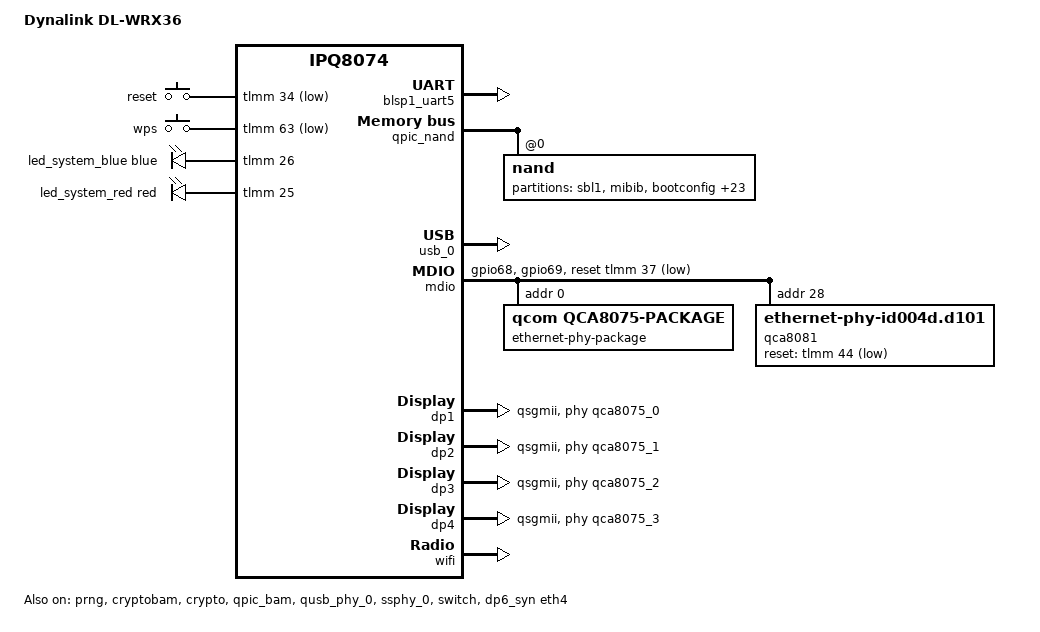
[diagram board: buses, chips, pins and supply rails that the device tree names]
// SPDX-License-Identifier: GPL-2.0-or-later OR MIT
/* Copyright (c) 2022, Robert Marko <robimarko@gmail.com> */

/dts-v1/;

#include "ipq8074.dtsi"
#include "ipq8074-hk-cpu.dtsi"
#include "ipq8074-ess.dtsi"
#include <dt-bindings/gpio/gpio.h>
#include <dt-bindings/input/input.h>
#include <dt-bindings/leds/common.h>

/ {
	model = "Dynalink DL-WRX36";
	compatible = "dynalink,dl-wrx36", "qcom,ipq8074";

	aliases {
		led-boot = &led_system_red;
		led-failsafe = &led_system_red;
		led-running = &led_system_blue;
		led-upgrade = &led_system_red;
		serial0 = &blsp1_uart5;
		/* Aliases as required by u-boot to patch MAC addresses */
		ethernet0 = &dp6_syn;
		ethernet1 = &dp4;
		ethernet2 = &dp3;
		ethernet3 = &dp2;
		ethernet4 = &dp1;
		label-mac-device = &dp6_syn;
	};

	chosen {
		stdout-path = "serial0:115200n8";
		bootargs-append = " root=/dev/ubiblock0_1";
	};

	keys {
		compatible = "gpio-keys";

		reset {
			label = "reset";
			gpios = <&tlmm 34 GPIO_ACTIVE_LOW>;
			linux,code = <KEY_RESTART>;
		};

		wps {
			label = "wps";
			gpios = <&tlmm 63 GPIO_ACTIVE_LOW>;
			linux,code = <KEY_WPS_BUTTON>;
		};
	};

	leds {
		compatible = "gpio-leds";

		led_system_blue: system-blue {
			gpios = <&tlmm 26 GPIO_ACTIVE_HIGH>;
			color = <LED_COLOR_ID_BLUE>;
		};

		led_system_red: system-red {
			gpios = <&tlmm 25 GPIO_ACTIVE_HIGH>;
			color = <LED_COLOR_ID_RED>;
		};
	};
};

&tlmm {
	mdio_pins: mdio-pins {
		mdc {
			pins = "gpio68";
			function = "mdc";
			drive-strength = <8>;
			bias-pull-up;
		};

		mdio {
			pins = "gpio69";
			function = "mdio";
			drive-strength = <8>;
			bias-pull-up;
		};
	};
};

&blsp1_uart5 {
	status = "okay";
};

&prng {
	status = "okay";
};

&cryptobam {
	status = "okay";
};

&crypto {
	status = "okay";
};

&qpic_bam {
	status = "okay";
};

&qpic_nand {
	status = "okay";

	nand@0 {
		reg = <0>;
		nand-ecc-strength = <8>;
		nand-ecc-step-size = <512>;
		nand-bus-width = <8>;

		partitions {
			compatible = "fixed-partitions";
			#address-cells = <1>;
			#size-cells = <1>;

			partition@0 {
				label = "sbl1";
				reg = <0x0 0x100000>;
				read-only;
			};

			partition@100000 {
				label = "mibib";
				reg = <0x100000 0x100000>;
				read-only;
			};

			partition@200000 {
				label = "bootconfig";
				reg = <0x200000 0x80000>;
				read-only;
			};

			partition@280000 {
				label = "bootconfig1";
				reg = <0x280000 0x80000>;
				read-only;
			};

			partition@300000 {
				label = "qsee";
				reg = <0x300000 0x300000>;
				read-only;
			};

			partition@600000 {
				label = "qsee_1";
				reg = <0x600000 0x300000>;
				read-only;
			};

			partition@900000 {
				label = "devcfg";
				reg = <0x900000 0x80000>;
				read-only;
			};

			partition@980000 {
				label = "devcfg_1";
				reg = <0x980000 0x80000>;
				read-only;
			};

			partition@a00000 {
				label = "apdp";
				reg = <0xa00000 0x80000>;
				read-only;
			};

			partition@a80000 {
				label = "apdp_1";
				reg = <0xa80000 0x80000>;
				read-only;
			};

			partition@b00000 {
				label = "rpm";
				reg = <0xb00000 0x80000>;
				read-only;
			};

			partition@b80000 {
				label = "rpm_1";
				reg = <0xb80000 0x80000>;
				read-only;
			};

			partition@c00000 {
				label = "cdt";
				reg = <0xc00000 0x80000>;
				read-only;
			};

			partition@c80000 {
				label = "cdt_1";
				reg = <0xc80000 0x80000>;
				read-only;
			};

			partition@d00000 {
				label = "appsblenv";
				reg = <0xd00000 0x80000>;
			};

			partition@d80000 {
				label = "appsbl";
				reg = <0xd80000 0x100000>;
				read-only;
			};

			partition@e80000 {
				label = "appsbl_1";
				reg = <0xe80000 0x100000>;
				read-only;
			};

			partition@f80000 {
				label = "art";
				reg = <0xf80000 0x80000>;
				read-only;
			};

			partition@1000000 {
				label = "rootfs";
				reg = <0x1000000 0x7000000>;
			};

			partition@7100000 {
				label = "wififw_1";
				reg = <0x7100000 0x800000>;
				read-only;
			};

			partition@7a00000 {
				label = "rootfs_1";
				reg = <0x7a00000 0x6100000>;
			};

			partition@db00000 {
				label = "wififw";
				reg = <0xdb00000 0x900000>;
				read-only;
			};

			partition@1680000 {
				label = "rootfs";
				reg = <0x1680000 0x9000000>;
			};

			partition@e400000 {
				label = "ubifs";
				reg = <0xe400000 0x1600000>;
			};

			partition@fa00000 {
				label = "ethphyfw";
				reg = <0xfa00000 0x80000>;
			};

			partition@fa80000 {
				label = "certificate";
				reg = <0xfa80000 0x280000>;
				read-only;
			};
		};
	};
};

&qusb_phy_0 {
	status = "okay";
};

&ssphy_0 {
	status = "okay";
};

&usb_0 {
	status = "okay";
};

&mdio {
	status = "okay";

	pinctrl-0 = <&mdio_pins>;
	pinctrl-names = "default";
	reset-gpios = <&tlmm 37 GPIO_ACTIVE_LOW>;

	ethernet-phy-package@0 {
		#address-cells = <1>;
		#size-cells = <0>;
		compatible = "qcom,qca8075-package";
		reg = <0>;

		qcom,package-mode = "qsgmii";

		qca8075_0: ethernet-phy@0 {
			compatible = "ethernet-phy-ieee802.3-c22";
			reg = <0>;
		};

		qca8075_1: ethernet-phy@1 {
			compatible = "ethernet-phy-ieee802.3-c22";
			reg = <1>;
		};

		qca8075_2: ethernet-phy@2 {
			compatible = "ethernet-phy-ieee802.3-c22";
			reg = <2>;
		};

		qca8075_3: ethernet-phy@3 {
			compatible = "ethernet-phy-ieee802.3-c22";
			reg = <3>;
		};
	};

	qca8081: ethernet-phy@28 {
		compatible = "ethernet-phy-id004d.d101";
		reg = <28>;
		reset-deassert-us = <10000>;
		reset-gpios = <&tlmm 44 GPIO_ACTIVE_LOW>;

		leds {
			#address-cells = <1>;
			#size-cells = <0>;

			led@0 {
				reg = <0>;
				color = <LED_COLOR_ID_GREEN>;
				function = LED_FUNCTION_WAN;
				default-state = "keep";
			};

			led@1 {
				reg = <1>;
				color = <LED_COLOR_ID_YELLOW>;
				function = LED_FUNCTION_WAN;
				default-state = "keep";
			};
		};
	};
};

&switch {
	status = "okay";

	switch_lan_bmp = <(ESS_PORT1 | ESS_PORT2 | ESS_PORT3 | ESS_PORT4)>; /* lan port bitmap */
	switch_wan_bmp = <ESS_PORT6>; /* wan port bitmap */
	switch_mac_mode = <MAC_MODE_QSGMII>; /* mac mode for uniphy instance0*/
	switch_mac_mode2 = <MAC_MODE_SGMII_PLUS>; /* mac mode for uniphy instance2*/

	qcom,port_phyinfo {
		port@1 {
			port_id = <1>;
			phy_address = <0>;
		};
		port@2 {
			port_id = <2>;
			phy_address = <1>;
		};
		port@3 {
			port_id = <3>;
			phy_address = <2>;
		};
		port@4 {
			port_id = <4>;
			phy_address = <3>;
		};
		port@6 {
			port_id = <6>;
			phy_address = <28>;
			port_mac_sel = "QGMAC_PORT";
		};
	};
};

&edma {
	status = "okay";
};

&dp1 {
	status = "okay";
	phy-mode = "qsgmii";
	phy-handle = <&qca8075_0>;
	label = "eth0";
};

&dp2 {
	status = "okay";
	phy-mode = "qsgmii";
	phy-handle = <&qca8075_1>;
	label = "eth1";
};

&dp3 {
	status = "okay";
	phy-mode = "qsgmii";
	phy-handle = <&qca8075_2>;
	label = "eth2";
};

&dp4 {
	status = "okay";
	phy-mode = "qsgmii";
	phy-handle = <&qca8075_3>;
	label = "eth3";
};

&dp6_syn {
	status = "okay";
	phy-handle = <&qca8081>;
	label = "eth4";
};

&wifi {
	status = "okay";
	qcom,ath11k-calibration-variant = "Dynalink-DL-WRX36";
};
